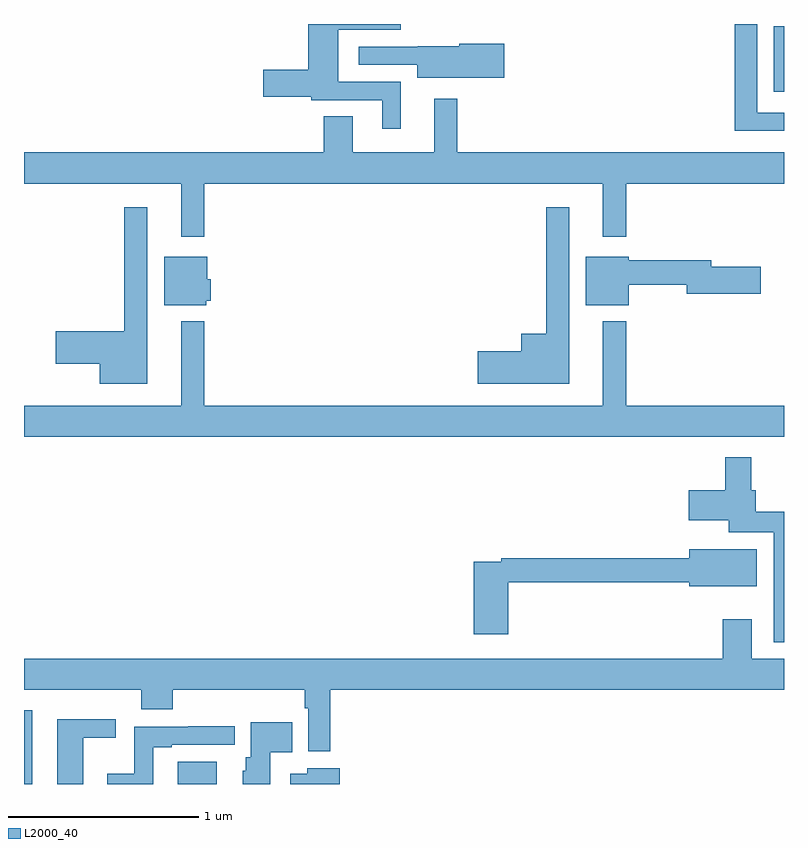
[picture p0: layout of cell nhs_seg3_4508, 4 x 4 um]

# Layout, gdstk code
import gdstk
lib = gdstk.Library(unit=1e-6, precision=1e-09)
def R(c, l, rs):  # rectangles x0, y0, x1, y1
    for r in rs: c.add(gdstk.rectangle(r[:2], r[2:], *l))
def P(c, l, *ps):  # polygons
    for p in ps: c.add(gdstk.Polygon(p, *l))
L2000_40 = (2000, 40)

nhs_seg3_4508 = lib.new_cell('nhs_seg3_4508')
R(nhs_seg3_4508, L2000_40, [(351,720.4,351.043,720.787), (351.809,720.4,352.015,720.517), (354.947,724.043,355,724.387)])
P(nhs_seg3_4508, L2000_40, [(352.984,724.095),(352.654,724.095),(352.654,724.37),(352.984,724.37),(352.984,724.4),(352.496,724.4),(352.496,724.16),(352.26,724.16),(352.26,724.018),(352.512,724.018),(352.512,723.999),(352.886,723.999),(352.886,723.849),(352.984,723.849)],
  [(355,723.933),(354.858,723.933),(354.858,724.4),(354.742,724.4),(354.742,723.837),(355,723.837)],
  [(353.527,724.295),(353.292,724.295),(353.292,724.282),(353.073,724.282),(353.073,724.281),(352.761,724.281),(352.761,724.185),(353.069,724.185),(353.069,724.117),(353.527,724.117)],
  [(351.949,723.56),(354.047,723.56),(354.047,723.279),(354.169,723.279),(354.169,723.56),(355,723.56),(355,723.724),(353.281,723.724),(353.281,724.006),(353.159,724.006),(353.159,723.724),(352.729,723.724),(352.729,723.914),(352.577,723.914),(352.577,723.724),(351,723.724),(351,723.56),(351.827,723.56),(351.827,723.279),(351.949,723.279)],
  [(351.649,723.436),(351.528,723.436),(351.528,722.783),(351.168,722.783),(351.168,722.612),(351.398,722.612),(351.398,722.507),(351.649,722.507)],
  [(353.869,723.436),(353.748,723.436),(353.748,722.77),(353.618,722.77),(353.618,722.678),(353.388,722.678),(353.388,722.507),(353.869,722.507)],
  [(354.184,723.028),(354.488,723.028),(354.488,722.981),(354.877,722.981),(354.877,723.123),(354.616,723.123),(354.616,723.157),(354.184,723.157),(354.184,723.175),(353.957,723.175),(353.957,722.921),(354.184,722.921)],
  [(351.96,722.943),(351.982,722.943),(351.982,723.057),(351.964,723.057),(351.964,723.175),(351.737,723.175),(351.737,722.921),(351.96,722.921)],
  [(355,722.392),(354.169,722.392),(354.169,722.836),(354.047,722.836),(354.047,722.392),(351.949,722.392),(351.949,722.836),(351.827,722.836),(351.827,722.392),(351,722.392),(351,722.228),(355,722.228)],
  [(355,721.834),(354.85,721.834),(354.85,721.945),(354.827,721.945),(354.827,722.119),(354.691,722.119),(354.691,721.945),(354.498,721.945),(354.498,721.787),(354.71,721.787),(354.71,721.725),(354.945,721.725),(354.945,721.146),(355,721.146)],
  [(353.549,721.461),(354.5,721.461),(354.5,721.442),(354.856,721.442),(354.856,721.636),(354.5,721.636),(354.5,721.589),(353.512,721.589),(353.512,721.569),(353.366,721.569),(353.366,721.188),(353.549,721.188)],
  [(352.613,720.896),(355,720.896),(355,721.06),(354.829,721.06),(354.829,721.267),(354.677,721.267),(354.677,721.06),(351,721.06),(351,720.896),(351.617,720.896),(351.617,720.794),(351.782,720.794),(351.782,720.896),(352.477,720.896),(352.477,720.8),(352.497,720.8),(352.497,720.573),(352.613,720.573)],
  [(351.313,720.644),(351.484,720.644),(351.484,720.742),(351.176,720.742),(351.176,720.4),(351.313,720.4)],
  [(352.297,720.566),(352.412,720.566),(352.412,720.724),(352.193,720.724),(352.193,720.54),(352.166,720.54),(352.166,720.471),(352.151,720.471),(352.151,720.4),(352.297,720.4)],
  [(351.681,720.594),(351.778,720.594),(351.778,720.606),(352.108,720.606),(352.108,720.704),(351.865,720.704),(351.865,720.702),(351.58,720.702),(351.58,720.454),(351.438,720.454),(351.438,720.4),(351.681,720.4)],
  [(352.661,720.484),(352.49,720.484),(352.49,720.454),(352.4,720.454),(352.4,720.4),(352.661,720.4)])

lib.write_gds('nhs_seg3_4508.gds')
